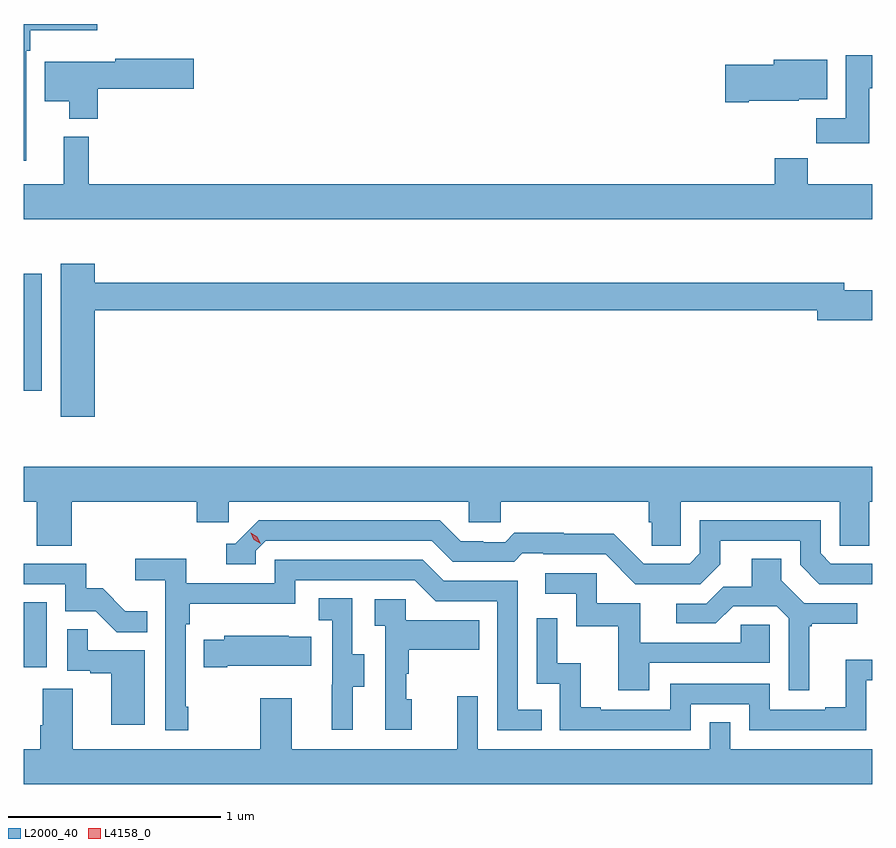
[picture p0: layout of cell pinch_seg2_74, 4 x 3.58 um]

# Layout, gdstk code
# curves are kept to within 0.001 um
import gdstk
lib = gdstk.Library(unit=1e-6, precision=1e-09)
def R(c, l, rs):  # rectangles x0, y0, x1, y1
    for r in rs: c.add(gdstk.rectangle(r[:2], r[2:], *l))
def P(c, l, *ps):  # polygons
    for p in ps: c.add(gdstk.Polygon(p, *l))
L2000_40 = (2000, 40)
L4158_0 = (4158, 0)

pinch_seg2_74 = lib.new_cell('pinch_seg2_74')
R(pinch_seg2_74, L2000_40, [(1058.261,646.854,1058.368,647.161), (1058.261,648.159,1058.346,648.71), (1061.801,649.886,1062.261,649.888)])
P(pinch_seg2_74, L2000_40, [(1058.271,649.763),(1058.291,649.763),(1058.291,649.859),(1058.608,649.859),(1058.608,649.888),(1058.261,649.888),(1058.261,649.242),(1058.271,649.242)],
  [(1062.247,649.585),(1062.261,649.585),(1062.261,649.741),(1062.137,649.741),(1062.137,649.444),(1061.998,649.444),(1061.998,649.326),(1062.247,649.326)],
  [(1058.609,649.582),(1059.061,649.582),(1059.061,649.724),(1058.692,649.724),(1058.692,649.711),(1058.36,649.711),(1058.36,649.523),(1058.474,649.523),(1058.474,649.442),(1058.609,649.442)],
  [(1061.68,649.526),(1061.916,649.526),(1061.916,649.532),(1062.049,649.532),(1062.049,649.72),(1061.798,649.72),(1061.798,649.697),(1061.568,649.697),(1061.568,649.519),(1061.68,649.519)],
  [(1062.261,649.132),(1061.957,649.132),(1061.957,649.256),(1061.801,649.256),(1061.801,649.132),(1058.567,649.132),(1058.567,649.357),(1058.45,649.357),(1058.45,649.132),(1058.261,649.132),(1058.261,648.968),(1062.261,648.968)],
  [(1058.596,648.538),(1062.002,648.538),(1062.002,648.491),(1062.261,648.491),(1062.261,648.633),(1062.13,648.633),(1062.13,648.667),(1058.596,648.667),(1058.596,648.757),(1058.435,648.757),(1058.435,648.036),(1058.596,648.036)],
  [(1058.261,647.636),(1058.321,647.636),(1058.321,647.428),(1058.486,647.428),(1058.486,647.636),(1059.077,647.636),(1059.077,647.538),(1059.228,647.538),(1059.228,647.636),(1060.359,647.636),(1060.359,647.538),(1060.509,647.538),(1060.509,647.636),(1061.207,647.636),(1061.207,647.538),(1061.221,647.538),(1061.221,647.428),(1061.358,647.428),(1061.358,647.636),(1062.108,647.636),(1062.108,647.428),(1062.247,647.428),(1062.247,647.636),(1062.261,647.636),(1062.261,647.8),(1058.261,647.8)],
  [(1062.261,647.343),(1062.066,647.343),(1062.018,647.391),(1062.018,647.547),(1061.448,647.547),(1061.448,647.391),(1061.4,647.343),(1061.184,647.343),(1061.042,647.485),(1060.806,647.485),(1060.806,647.488),(1060.573,647.488),(1060.531,647.445),(1060.428,647.445),(1060.428,647.448),(1060.321,647.448),(1060.222,647.547),(1059.369,647.547),(1059.258,647.436),(1059.215,647.436),(1059.215,647.34),(1059.354,647.34),(1059.354,647.403),(1059.402,647.451),(1060.185,647.451),(1060.284,647.352),(1060.573,647.352),(1060.612,647.391),(1060.711,647.391),(1060.711,647.388),(1061.004,647.388),(1061.145,647.247),(1061.451,647.247),(1061.545,647.341),(1061.545,647.451),(1061.922,647.451),(1061.922,647.337),(1062.012,647.247),(1062.261,647.246)],
  [(1059.037,646.669),(1059.024,646.669),(1059.024,647.057),(1059.044,647.057),(1059.044,647.153),(1059.54,647.153),(1059.54,647.265),(1060.104,647.265),(1060.203,647.166),(1060.494,647.166),(1060.494,646.557),(1060.703,646.557),(1060.703,646.653),(1060.59,646.653),(1060.59,647.262),(1060.24,647.262),(1060.141,647.361),(1059.444,647.361),(1059.444,647.25),(1059.026,647.25),(1059.026,647.366),(1058.787,647.366),(1058.787,647.264),(1058.928,647.264),(1058.928,646.557),(1059.037,646.557)],
  [(1061.965,647.049),(1061.977,647.049),(1061.977,647.06),(1062.19,647.06),(1062.19,647.157),(1061.94,647.157),(1061.833,647.264),(1061.833,647.366),(1061.693,647.366),(1061.693,647.234),(1061.558,647.234),(1061.478,647.154),(1061.337,647.154),(1061.337,647.061),(1061.524,647.061),(1061.605,647.142),(1061.811,647.142),(1061.868,647.085),(1061.868,646.746),(1061.965,646.746)],
  [(1058.843,647.119),(1058.739,647.119),(1058.632,647.226),(1058.556,647.226),(1058.556,647.343),(1058.261,647.343),(1058.261,647.247),(1058.457,647.247),(1058.457,647.118),(1058.601,647.118),(1058.699,647.02),(1058.843,647.02)],
  [(1061.209,646.875),(1061.778,646.875),(1061.778,647.055),(1061.641,647.055),(1061.641,646.971),(1061.167,646.971),(1061.167,647.157),(1060.962,647.157),(1060.962,647.298),(1060.719,647.298),(1060.719,647.202),(1060.866,647.202),(1060.866,647.049),(1061.065,647.049),(1061.065,646.746),(1061.209,646.746)],
  [(1059.811,646.762),(1059.865,646.762),(1059.865,646.917),(1059.81,646.917),(1059.81,647.18),(1059.651,647.18),(1059.651,647.077),(1059.714,647.077),(1059.714,646.773),(1059.713,646.773),(1059.713,646.56),(1059.811,646.56)],
  [(1060.09,646.704),(1060.065,646.704),(1060.065,646.823),(1060.075,646.823),(1060.075,646.937),(1060.409,646.937),(1060.409,647.077),(1060.062,647.077),(1060.062,647.175),(1059.915,647.175),(1059.915,647.051),(1059.966,647.051),(1059.966,646.56),(1060.09,646.56)],
  [(1061.406,646.68),(1061.682,646.68),(1061.682,646.557),(1062.234,646.557),(1062.234,646.793),(1062.261,646.793),(1062.261,646.891),(1062.137,646.891),(1062.137,646.666),(1062.041,646.666),(1062.041,646.653),(1061.778,646.653),(1061.778,646.776),(1061.31,646.776),(1061.31,646.653),(1060.981,646.653),(1060.981,646.666),(1060.886,646.666),(1060.886,646.874),(1060.776,646.874),(1060.776,647.086),(1060.68,647.086),(1060.68,646.776),(1060.788,646.776),(1060.788,646.557),(1061.406,646.557)],
  [(1058.83,646.935),(1058.561,646.935),(1058.561,647.033),(1058.466,647.033),(1058.466,646.839),(1058.573,646.839),(1058.573,646.827),(1058.672,646.827),(1058.672,646.584),(1058.83,646.584)],
  [(1059.22,646.862),(1059.617,646.862),(1059.617,646.999),(1059.509,646.999),(1059.509,647.002),(1059.207,647.002),(1059.207,646.984),(1059.109,646.984),(1059.109,646.855),(1059.22,646.855)],
  [(1062.261,646.468),(1061.592,646.468),(1061.592,646.595),(1061.496,646.595),(1061.496,646.468),(1060.401,646.468),(1060.401,646.717),(1060.304,646.717),(1060.304,646.468),(1059.523,646.468),(1059.523,646.708),(1059.376,646.708),(1059.376,646.468),(1058.491,646.468),(1058.491,646.754),(1058.351,646.754),(1058.351,646.58),(1058.339,646.58),(1058.339,646.468),(1058.261,646.468),(1058.261,646.304),(1062.261,646.304)])
P(pinch_seg2_74, L4158_0, [(1059.377,647.437),(1059.346,647.456),(1059.33,647.488),(1059.33,647.488),(1059.33,647.488),(1059.361,647.469),(1059.378,647.437),(1059.378,647.437)])

lib.write_gds('pinch_seg2_74.gds')
